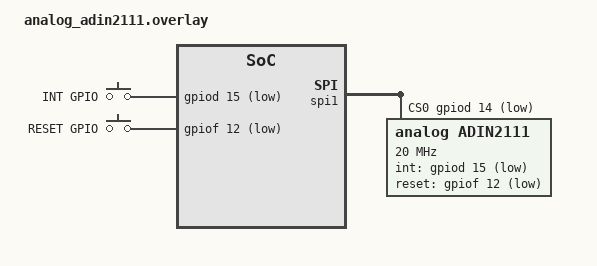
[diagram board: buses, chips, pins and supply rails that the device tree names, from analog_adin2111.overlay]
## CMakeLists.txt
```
# SPDX-License-Identifier: Apache-2.0

cmake_minimum_required(VERSION 3.20.0)

find_package(Zephyr REQUIRED HINTS $ENV{ZEPHYR_BASE})
project(eth_adin)

target_sources(app PRIVATE src/main.c)
include(${ZEPHYR_BASE}/samples/net/common/common.cmake)

set(gen_dir ${ZEPHYR_BINARY_DIR}/include/generated/)
```

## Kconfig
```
# Private config options for Ethernet ADIN2111 app

# Copyright (c) 2020 Intel Corporation
# SPDX-License-Identifier: Apache-2.0

mainmenu "Ethernet ADIN2111 sample application"

config NET_SAMPLE_PEER
	string "Peer IP address we are sending packets to"
	help
	  The value depends on your network setup. This could be
	  a multicast address if needed. If port is not specified,
	  then 4242 is used. Currently the port value is only used
	  when selecting UDP socket type.
	  Syntax of the IP address string:
	     192.0.2.1:80
	     192.0.2.42
	     [2001:db8::1]:8080
	     [2001:db8::2]
	     2001:db::42

choice
	prompt "Socket type to use"
	help
	  Can be used to select whether the application will use UDP
	  socket to send data, or if it uses AF_PACKET (raw) socket.

config NET_SAMPLE_UDP_SOCKET
	bool "UDP socket"
	help
	  Use UDP socket.

config NET_SAMPLE_PACKET_SOCKET
	bool "Packet socket"
	select NET_SOCKETS_PACKET
	help
	  Use AF_PACKET socket. Note that currently the application sends
	  dummy data that is not a valid Ethernet frame. We want to measure
	  how long it takes to send data so the actual data content is not
	  important for this sample application.

endchoice

config NET_SAMPLE_PACKET_INTERVAL
	int "How long to wait between sent packets (in milliseconds)"
	default 1000
	range 1 10000
	help
	  The application will send network packets between this
	  interval. The value is in milliseconds.

config NET_SAMPLE_PACKET_TXTIME
	int "What is the TXTIME (in microseconds)"
	default 1000
	range 1 10000
	help
	  This tells what is the expected sending time of the network
	  packet by the network device driver. The value is in microseconds.
	  This value should be smaller than the interval time
	  (NET_SAMPLE_PACKET_INTERVAL). This value is added to current
	  time from PTP clock, to set the expected transmit time. Note that
	  the actual TXTIME given to Ethernet driver, is set in nanoseconds,
	  but for purpose of this sample application, we set the time in
	  microseconds in this config option.

config NET_SAMPLE_IFACE2_MY_IPV6_ADDR
	string "My IPv6 address for second interface"
	help
	  The value depends on your network setup.

config NET_SAMPLE_IFACE2_MY_IPV4_ADDR
	string "My IPv4 address for second interface"
	help
	  The value depends on your network setup.

config NET_SAMPLE_IFACE2_VLAN_TAG
	int "VLAN tag for second interface"
	default 100
	range 0 4094
	depends on NET_VLAN
	help
	  Set VLAN (virtual LAN) tag (id) that is used in the sample
	  application.

config NET_SAMPLE_IFACE3_MY_IPV6_ADDR
	string "My IPv6 address for third interface"
	help
	  The value depends on your network setup.

config NET_SAMPLE_IFACE3_MY_IPV4_ADDR
	string "My IPv4 address for third interface"
	help
	  The value depends on your network setup.

config NET_SAMPLE_IFACE3_VLAN_TAG
	int "VLAN tag for third interface"
	default 200
	range 0 4094
	depends on NET_VLAN
	help
	  Set VLAN (virtual LAN) tag (id) that is used in the sample
	  application.

source "Kconfig.zephyr"
```

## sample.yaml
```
common:
  harness: net
  tags: net
  depends_on: netif
  min_flash: 140
sample:
  description: Testing ADIN2111 for Bristlemouth
  name: Ethernet ADIN2111 Sample App
```

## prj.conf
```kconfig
CONFIG_NETWORKING=y
CONFIG_NET_TEST=y
CONFIG_NET_UDP=y
CONFIG_NET_TCP=n
CONFIG_NET_IPV6=y
CONFIG_NET_IPV4=n
CONFIG_NET_SOCKETS=y
CONFIG_NET_SOCKETS_POLL_MAX=4
CONFIG_NET_SOCKETS_PACKET=y
CONFIG_NET_IPV6_MLD=n
CONFIG_NET_IPV6_DAD=n

# Generic library options
CONFIG_NEWLIB_LIBC=y
CONFIG_POSIX_API=y
CONFIG_MAX_PTHREAD_COUNT=4

CONFIG_ENTROPY_GENERATOR=y
CONFIG_TEST_RANDOM_GENERATOR=y
CONFIG_INIT_STACKS=y

CONFIG_LOG=y
CONFIG_NET_LOG=y
CONFIG_NET_STATISTICS=y

CONFIG_NET_BUF_POOL_USAGE=y
CONFIG_NET_PKT_RX_COUNT=32
CONFIG_NET_PKT_TX_COUNT=32
CONFIG_NET_BUF_RX_COUNT=64
CONFIG_NET_BUF_TX_COUNT=64
# CONFIG_NET_TC_RX_COUNT=2

# IP threads stack size
CONFIG_NET_TX_STACK_SIZE=16384
CONFIG_NET_RX_STACK_SIZE=16384

CONFIG_SHELL=y
CONFIG_NET_SHELL=y
CONFIG_PRINTK=y
CONFIG_LOG_MODE_IMMEDIATE=y

CONFIG_NET_CONFIG_SETTINGS=y
CONFIG_NET_CONFIG_NEED_IPV6=y
CONFIG_NET_CONFIG_NEED_IPV4=n

CONFIG_NET_CONFIG_MY_IPV6_ADDR="2001:db8::1"
CONFIG_NET_CONFIG_PEER_IPV6_ADDR="2001:db8::2"

CONFIG_NET_L2_ETHERNET=y

CONFIG_ETH_NATIVE_POSIX=y
CONFIG_ETH_NATIVE_POSIX_RANDOM_MAC=y

CONFIG_SPI=y
CONFIG_SPI_STM32_DMA=y
CONFIG_ETH_ADIN2111=y
CONFIG_ETHERNET_LOG_LEVEL_DBG=n
CONFIG_ETH_ADIN2111_TIMEOUT=1000
CONFIG_BUILTIN_STACK_GUARD=y
CONFIG_MAIN_STACK_SIZE=8192
CONFIG_SYSTEM_WORKQUEUE_STACK_SIZE=4096
CONFIG_NET_MGMT_EVENT_STACK_SIZE=16384
CONFIG_ETH_ADIN2111_BSP_THREAD_STACK_SIZE=8192
CONFIG_ETH_ADIN2111_SERVICE_THREAD_STACK_SIZE=8192
CONFIG_DEBUG_THREAD_INFO=y
CONFIG_THREAD_NAME=y

CONFIG_NET_TC_THREAD_COOPERATIVE=y
CONFIG_NET_TC_THREAD_PREEMPTIVE=n
#CONFIG_MAIN_THREAD_PRIORITY=15
CONFIG_NET_BUF_DATA_SIZE=1500

CONFIG_TRACING=y
CONFIG_TRACING_USER=y
CONFIG_THREAD_CUSTOM_DATA=y
```

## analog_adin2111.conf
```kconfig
CONFIG_SPI=y
# CONFIG_SPI_ASYNC=y
CONFIG_SPI_STM32_DMA=y
CONFIG_ETH_ADIN2111=y
CONFIG_ETHERNET_LOG_LEVEL_DBG=y
CONFIG_ETH_ADIN2111_TIMEOUT=1000
CONFIG_BUILTIN_STACK_GUARD=y
CONFIG_NET_SHELL=y
# CONFIG_NET_DHCPV4=y
# CONFIG_NET_MGMT=y
```

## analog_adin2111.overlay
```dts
/{
	gpio_keys {
		compatible = "gpio-keys";
		user_int_gpio: int_gpio {
			label = "INT GPIO";
			gpios = <&gpiod 15 GPIO_ACTIVE_LOW>;
		};
		user_reset_gpio: reset_gpio {
			label = "RESET GPIO";
			gpios = <&gpiof 12 GPIO_ACTIVE_LOW>;
		};
	};

	aliases {
		int-gpio = &user_int_gpio;
		reset-gpio = &user_reset_gpio;
	};
};

&spi1 {
	dmas = <&gpdma1 0 7 0x440>, 
		   <&gpdma1 1 6 0x480>;
	dma-names = "tx", "rx";

	compatible = "st,stm32h7-spi", "st,stm32-spi-fifo", "st,stm32-spi";
	status = "okay";
	cs-gpios = <&gpiod 14 (GPIO_ACTIVE_LOW | GPIO_PULL_UP)>;
	spi_adin2111: adin2111@0 {
		compatible = "analog,adin2111";
		label = "adin2111";
		reg = <0x0>;
		spi-max-frequency = <20000000>;
		int-gpios = <&gpiod 15 (GPIO_ACTIVE_LOW | GPIO_PULL_UP)>;
		reset-gpios = <&gpiof 12 GPIO_ACTIVE_LOW>;
	};

	aliases {
		adin_spi = &spi_adin2111;
	};
};

&gpdma1 {
	status = "okay";
};
```

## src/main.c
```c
/*
 * Copyright (c) 2018 Intel Corporation
 *
 * SPDX-License-Identifier: Apache-2.0
 */

#include <zephyr/logging/log.h>
LOG_MODULE_REGISTER(net_ethernet_adin2111, LOG_LEVEL_DBG);

#include <stdio.h>
#include <stdlib.h>
#include <unistd.h>
#include <errno.h>
#include <zephyr/sys/printk.h>
#include <zephyr/net/socket.h>
#include <zephyr/net/net_core.h>
#include <zephyr/kernel.h>

#include <zephyr/net/net_core.h>
#include <zephyr/net/net_l2.h>
#include <zephyr/net/net_if.h>
#include <zephyr/net/net_pkt.h>
#include <zephyr/drivers/gpio.h>
#include <zephyr/sys/crc.h>
#include <fcntl.h>

static struct net_if *iface;

static const struct gpio_dt_spec user2 = GPIO_DT_SPEC_GET(DT_ALIAS(user2), gpios);
static const struct gpio_dt_spec user3 = GPIO_DT_SPEC_GET(DT_ALIAS(user3), gpios);

K_THREAD_STACK_DEFINE(dummy_stack_area, 512);
struct k_thread dummy_thread_data;

K_THREAD_STACK_DEFINE(main_tx_stack_area, 2048);
struct k_thread main_tx_thread_data;

int sock;
struct sockaddr* addr;
struct sockaddr_in6 addr6;

void join_well_known_multicast_groups(struct net_if *iface)
{
    struct in6_addr ll_all_nodes_addr;
    struct in6_addr rl_all_nodes_addr;
    struct net_if_mcast_addr *maddr;

    net_ipv6_addr_create(&ll_all_nodes_addr, 0xff02, 0, 0, 0, 0, 0, 0, 0x0001);
    net_ipv6_addr_create(&rl_all_nodes_addr, 0xff03, 0, 0, 0, 0, 0, 0, 0x0001);
    
    // Add and join link-local
    maddr = net_if_ipv6_maddr_lookup(&ll_all_nodes_addr, &iface);
    if (maddr && net_if_ipv6_maddr_is_joined(maddr)) {
        // Already joined
    }

    if (!maddr) {
        maddr = net_if_ipv6_maddr_add(iface, &ll_all_nodes_addr);
        if (!maddr) {
            NET_ERR( "Failed to add LL multicast address" );
        }
    }

    net_if_ipv6_maddr_join(maddr);

    // Add and join realm
    maddr = net_if_ipv6_maddr_lookup(&rl_all_nodes_addr, &iface);
    if (maddr && net_if_ipv6_maddr_is_joined(maddr)) {
        // Already joined
    }

    if (!maddr) {
        maddr = net_if_ipv6_maddr_add(iface, &rl_all_nodes_addr);
        if (!maddr) {
            NET_ERR( "Failed to add RL multicast address" );
        }
    }

    net_if_ipv6_maddr_join(maddr);
}

/* Main TX Thread */
static void main_tx_thread(void) {
    int retval;
    static char send_buf[] = "Lorem ipsum dolor sit amet consectetur adipiscing elit mi primis, \
                            convallis augue fringilla rhoncus quis mauris nam pharetra egestas, \
                            iaculis ligula ultrices himenaeos mus non enim taciti. Sed penatibus \
                            nisi duis odio sociosqu nascetur ultricies, fames dui tellus orci \
                            sollicitudin congue neque porta, praesent pellentesque quis potenti \
                            euismod augue ultrices himenaeos mus non enim taciti. Sed penatibus \
                            nisi duis odio sociosqu nascetur ultricies, fames dui tellus orci \
                            sollicitudin congue neque porta, praesent pellentesque quis potenti \
                            euismod augue ultrices himenaeos mus non enim taciti. Sed penatibus \
                            nisi duis odio sociosqu nascetur ultricies, fames dui tellus orci \
                            sollicitudin congue fames duis odio sociosqu nascetur ultricies, fames dui tellus orci \
                            sollicitudin congue fames duis odio sociosqu nascetur ultricies, fames dui tellus orci \
                            sollicitudin congue fames duis odio sociosqu nascetur ultricies, fames dui tellus orci \
                            sollicitudin congue fames duis odio sociosqu nascetur ultricies, fames dui tellus orci fames dui tell";

        uint8_t counter = 0;
        while (1) {
            send_buf[0] = counter;
            counter++;
            retval = zsock_sendto(sock, send_buf, sizeof(send_buf), 0, addr, sizeof(*addr));
            if (retval < 0) {
                LOG_ERR("Failed to send");
            } else {
                //printk(".");
            }
            k_sleep(K_USEC(350));
        }
}



/* This application itself does nothing as there is net-shell that can be used
 * to monitor things.
 */
void main(void)
{
    int retval;
    LOG_INF("Testing Ethernet ADIN2111 driver");

    iface = net_if_get_by_index(1);
    join_well_known_multicast_groups(iface);

    addr6.sin6_family = AF_INET6;
    addr6.sin6_port = htons(2222);
    zsock_inet_pton(AF_INET6, "ff03::1", &addr6.sin6_addr);

    addr = (struct sockaddr *)&addr6;

    sock = zsock_socket(addr->sa_family, SOCK_DGRAM, IPPROTO_UDP);
    if( sock < 0 ) {
        LOG_ERR("Failed to create UDP socket: %d", errno);
    }

    retval = zsock_bind( sock, addr, sizeof(addr6) );
    if (retval < 0) {
        LOG_ERR("Cannot bind to UDP addr/port: %d", errno);
        while(1);
    } else {
        LOG_INF( "Bound" );
    }

    static char recv_buf[1411];

    uint8_t recv_counter;
    uint8_t last_counter = 0;
    bool first = true;

    /******************************************************/
    /* SOPHIE: Comment the below for device sending data */
    
    while(1) {
        k_yield();
    }

    /******************************************************/
    /*******************************************************/
    /* SOPHIE: Uncomment the below for device sending data */

    // k_thread_create(&main_tx_thread_data, main_tx_stack_area,
    //                 K_THREAD_STACK_SIZEOF(main_tx_stack_area),
    //                 (k_thread_entry_t)main_tx_thread,
    //                 NULL, NULL, NULL,
    //                 K_PRIO_COOP(15),
    //                 0, K_NO_WAIT);
    // k_thread_name_set(&main_tx_thread_data, "main_tx_thread");

    // k_thread_custom_data_set((void *) &user3);    
    // while (1)
    // {
    //     retval = zsock_recv(sock, recv_buf, sizeof(recv_buf), 0);
    //     if(retval == -EAGAIN) {
    //         LOG_INF( "Timeout" );
    //     } else if (retval < 0) {
    //         LOG_ERR( "Failed to recv" );
    //     } else {
    //         if (first) {
    //             gpio_pin_configure_dt(&user2, GPIO_OUTPUT_ACTIVE);
    // 	        gpio_pin_configure_dt(&user2, GPIO_OUTPUT_INACTIVE);
    //             first = false;
    //             last_counter = recv_buf[0];
    //             gpio_pin_configure_dt(&user2, GPIO_OUTPUT_ACTIVE);
    //         } else {
    //             recv_counter = recv_buf[0];
    //             //printk("%d ", recv_counter);
    //             if (recv_counter != (uint8_t) (last_counter + 1)) {
    //                 LOG_ERR("Missed a frame. Counter: %d Last Counter: %d", recv_counter, last_counter);
    //             } else {
    //                 gpio_pin_configure_dt(&user2, GPIO_OUTPUT_ACTIVE);
    // 	            gpio_pin_configure_dt(&user2, GPIO_OUTPUT_INACTIVE);
    //                 gpio_pin_configure_dt(&user2, GPIO_OUTPUT_ACTIVE);
    //             }
    //             last_counter = recv_counter;
    //         }
    //     }
    // }
    /*******************************************************/
}
```
